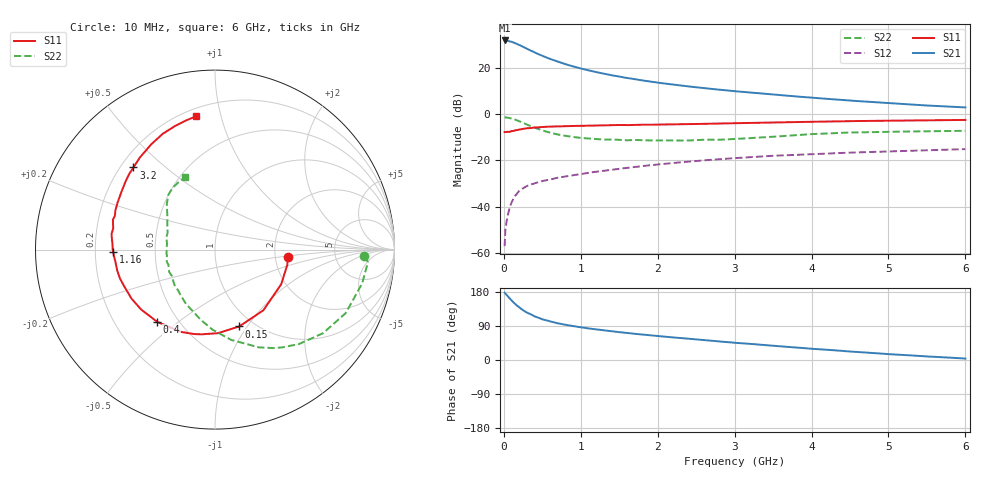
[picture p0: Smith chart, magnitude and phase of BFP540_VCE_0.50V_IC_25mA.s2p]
! (c) 2015  Infineon Technologies AG, Munich
! Infineon Technologies  Discrete & RF Semiconductors
! BFP540
! VCE = 0.50 V,  IC =  25 mA
! Common Emitter S-Parameters:  Nov 2015
# GHz  S  MA  R  50
!  f  S11  S21  S12  S22
! GHz  MAG  ANG  MAG  ANG  MAG  ANG  MAG  ANG
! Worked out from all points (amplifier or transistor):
!   210 points, 10 MHz to 6 GHz, reference 50 ohm
!   highest |S21| = 31.9 dB at 10 MHz (marker M1)
!   |S21| within 3 dB of that: start of sweep to 263.7 MHz
!   unconditionally stable (mu >= 1): start of sweep to 19.11 MHz; 1.584 GHz to end of sweep
!   at 185 MHz: K = 0.32, MSG = 32.0 dB, |S12| = -33.8 dB
!   at 1.52 GHz: K = 0.98, MSG = 19.8 dB, |S12| = -23.5 dB
!   at 6 GHz: K = 1.16, MAG = 6.6 dB, |S12| = -15.1 dB
!   S11 on the Smith chart (normalised r, x): 10 MHz: 2.36, -0.23; 150 MHz: 0.86, -0.92; 400 MHz: 0.38, -0.42; 1.16 GHz: 0.28, -0.01; 3.2 GHz: 0.25, +0.39; 6 GHz: 0.25, +0.84
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0.01  0.4094 -5.7  39.19 177.6  0.0014 101.6  0.8335 -2.5
0.02  0.4117 -12.0  38.86 175.6  0.0031 85.4  0.8551 -4.7
0.05  0.4163 -27.7  38.4 168.3  0.0063 81.8  0.8414 -12.9
0.1  0.4324 -51.5  36.81 157.1  0.0123 77.2  0.8097 -25.9
0.15  0.4489 -72.5  34.13 146.9  0.0174 70.1  0.7607 -37.8
0.2  0.4658 -87.9  31.46 138.8  0.0219 63.6  0.7039 -48.4
0.26  0.4843 -103.6  27.94 130.0  0.0255 58.2  0.6389 -59.2
0.3  0.4959 -112.3  25.91 125.1  0.028 56.6  0.5965 -65.9
0.4  0.5156 -128.7  21.5 115.1  0.032 53.3  0.5114 -79.8
0.5  0.53 -141.1  18.2 107.5  0.0358 50.2  0.4463 -91.8
0.6  0.5396 -149.7  15.61 101.8  0.0386 49.0  0.3985 -101.6
0.7  0.5445 -157.0  13.67 96.9  0.0422 49.7  0.3641 -110.3
0.8  0.5534 -163.1  12.02 92.8  0.0448 48.6  0.3404 -118.8
1.02  0.5593 -173.3  9.531 85.6  0.0512 48.9  0.3048 -133.6
1.16  0.5674 -178.6  8.398 81.8  0.0558 48.9  0.2938 -141.6
1.5  0.5827 171.2  6.461 73.5  0.0661 48.1  0.2782 -157.9
2.02  0.5963 158.5  4.751 62.8  0.0823 45.5  0.2709 -175.9
3.1  0.6408 136.7  3.036 44.1  0.1147 36.9  0.2967 153.6
3.2  0.6451 134.8  2.935 42.6  0.1175 35.9  0.3031 151.2
4.1  0.6891 119.9  2.206 28.4  0.1385 26.8  0.376 135.2
5.1  0.7254 107.0  1.693 14.4  0.1576 17.7  0.419 123.2
6  0.75 98.1  1.399 3.8  0.1756 10.7  0.4364 112.3
